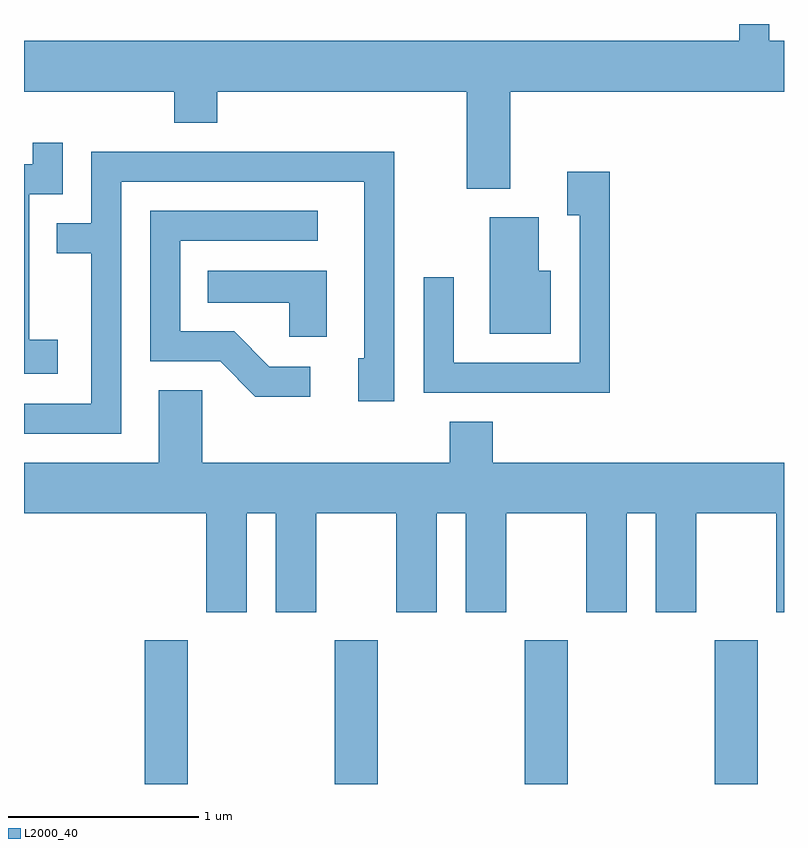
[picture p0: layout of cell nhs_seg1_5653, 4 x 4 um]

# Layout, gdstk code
import gdstk
lib = gdstk.Library(unit=1e-6, precision=1e-09)
def R(c, l, rs):  # rectangles x0, y0, x1, y1
    for r in rs: c.add(gdstk.rectangle(r[:2], r[2:], *l))
def A(c, l, x, y, w, h, nx, ny, dx, dy):  # array of equal rectangles
    R(c, l, [(x+i*dx, y+j*dy, x+i*dx+w, y+j*dy+h) for i in range(nx) for j in range(ny)])
def P(c, l, *ps):  # polygons
    for p in ps: c.add(gdstk.Polygon(p, *l))
L2000_40 = (2000, 40)

nhs_seg1_5653 = lib.new_cell('nhs_seg1_5653')
A(nhs_seg1_5653, L2000_40, 356.246, 893.712, 0.228, 0.757, 4, 1, 1, 0)
P(nhs_seg1_5653, L2000_40, [(358.169,897.356),(359.611,897.356),(359.611,897.624),(359.534,897.624),(359.534,897.712),(359.376,897.712),(359.376,897.624),(355.611,897.624),(355.611,897.356),(356.401,897.356),(356.401,897.191),(356.629,897.191),(356.629,897.356),(357.941,897.356),(357.941,896.846),(358.169,896.846)],
  [(355.789,896.049),(355.639,896.049),(355.639,896.816),(355.814,896.816),(355.814,897.088),(355.656,897.088),(355.656,896.974),(355.611,896.974),(355.611,895.871),(355.789,895.871)],
  [(356.124,896.881),(357.401,896.881),(357.401,895.954),(357.371,895.954),(357.371,895.726),(357.559,895.726),(357.559,897.039),(355.966,897.039),(355.966,896.664),(355.783,896.664),(355.783,896.506),(355.966,896.506),(355.966,895.714),(355.611,895.714),(355.611,895.556),(356.124,895.556)],
  [(358.694,896.934),(358.471,896.934),(358.471,896.706),(358.536,896.706),(358.536,895.929),(357.874,895.929),(357.874,896.378),(357.716,896.378),(357.716,895.771),(358.694,895.771)],
  [(357.118,895.909),(356.902,895.909),(356.717,896.094),(356.434,896.094),(356.434,896.571),(357.158,896.571),(357.158,896.729),(356.276,896.729),(356.276,895.936),(356.644,895.936),(356.829,895.751),(357.118,895.751)],
  [(358.384,896.414),(358.319,896.414),(358.319,896.694),(358.061,896.694),(358.061,896.081),(358.384,896.081)],
  [(357.204,896.414),(356.578,896.414),(356.578,896.246),(357.006,896.246),(357.006,896.066),(357.204,896.066)],
  [(358.079,895.619),(357.851,895.619),(357.851,895.404),(356.549,895.404),(356.549,895.784),(356.321,895.784),(356.321,895.404),(355.611,895.404),(355.611,895.136),(356.571,895.136),(356.571,894.616),(356.784,894.616),(356.784,895.136),(356.936,895.136),(356.936,894.616),(357.149,894.616),(357.149,895.136),(357.571,895.136),(357.571,894.616),(357.784,894.616),(357.784,895.136),(357.936,895.136),(357.936,894.616),(358.149,894.616),(358.149,895.136),(358.571,895.136),(358.571,894.616),(358.784,894.616),(358.784,895.136),(358.936,895.136),(358.936,894.616),(359.149,894.616),(359.149,895.136),(359.571,895.136),(359.571,894.616),(359.611,894.616),(359.611,895.404),(358.079,895.404)])

lib.write_gds('nhs_seg1_5653.gds')
